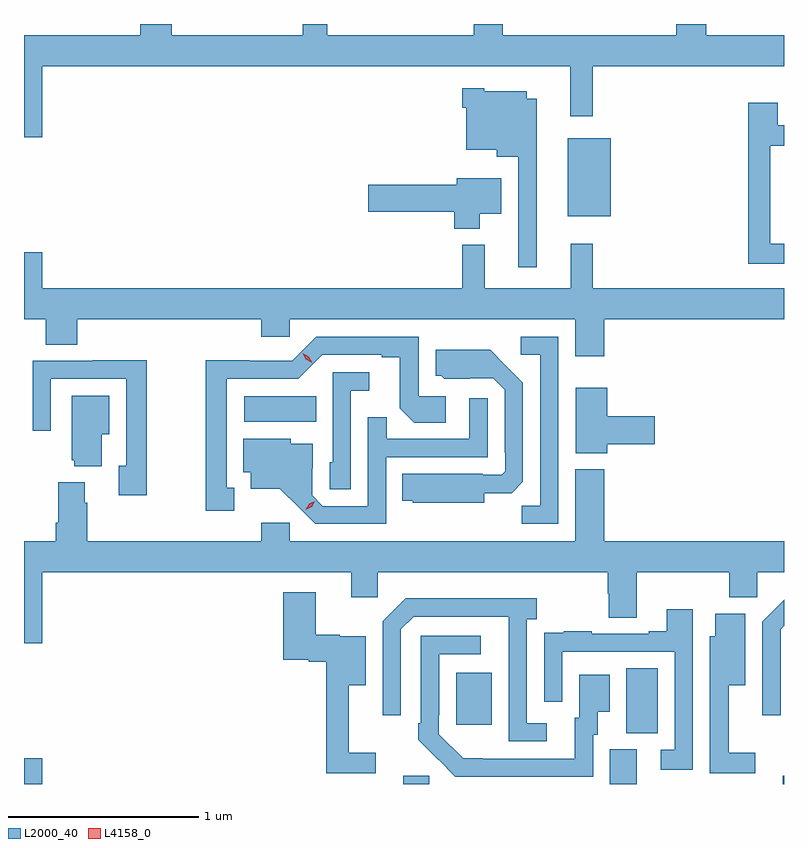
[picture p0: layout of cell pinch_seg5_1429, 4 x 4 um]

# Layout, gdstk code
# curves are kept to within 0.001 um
import gdstk
lib = gdstk.Library(unit=1e-6, precision=1e-09)
def R(c, l, rs):  # rectangles x0, y0, x1, y1
    for r in rs: c.add(gdstk.rectangle(r[:2], r[2:], *l))
def P(c, l, *ps):  # polygons
    for p in ps: c.add(gdstk.Polygon(p, *l))
L2000_40 = (2000, 40)
L4158_0 = (4158, 0)

pinch_seg5_1429 = lib.new_cell('pinch_seg5_1429')
R(pinch_seg5_1429, L2000_40, [(153.089,878.29,153.184,878.425), (155.084,878.29,155.223,878.334), (156.173,878.29,156.313,878.472), (157.082,878.29,157.089,878.334), (156.26,878.557,156.424,878.9), (155.363,878.601,155.551,878.875), (154.248,880.196,154.628,880.33), (155.951,881.279,156.178,881.689)])
P(pinch_seg5_1429, L2000_40, [(153.184,882.068),(155.965,882.068),(155.965,881.805),(156.083,881.805),(156.083,882.068),(157.089,882.068),(157.089,882.232),(156.681,882.232),(156.681,882.29),(156.521,882.29),(156.521,882.232),(155.609,882.232),(155.609,882.29),(155.456,882.29),(155.456,882.232),(154.685,882.232),(154.685,882.29),(154.555,882.29),(154.555,882.232),(153.866,882.232),(153.866,882.29),(153.701,882.29),(153.701,882.232),(153.089,882.232),(153.089,881.694),(153.184,881.694)],
  [(155.788,881.896),(155.734,881.896),(155.734,881.935),(155.511,881.935),(155.511,881.953),(155.396,881.953),(155.396,881.849),(155.417,881.849),(155.417,881.627),(155.576,881.627),(155.576,881.591),(155.691,881.591),(155.691,881.01),(155.788,881.01)],
  [(157.089,881.133),(157.017,881.133),(157.017,881.649),(157.089,881.649),(157.089,881.758),(157.057,881.758),(157.057,881.875),(156.901,881.875),(156.901,881.028),(157.089,881.028)],
  [(155.488,881.291),(155.602,881.291),(155.602,881.479),(155.366,881.479),(155.366,881.444),(154.902,881.444),(154.902,881.302),(155.354,881.302),(155.354,881.213),(155.488,881.213)],
  [(156.143,880.736),(157.089,880.736),(157.089,880.9),(156.083,880.9),(156.083,881.134),(155.966,881.134),(155.966,880.9),(155.513,880.9),(155.513,881.128),(155.395,881.128),(155.395,880.9),(153.184,880.9),(153.184,881.089),(153.089,881.089),(153.089,880.736),(153.203,880.736),(153.203,880.603),(153.368,880.603),(153.368,880.736),(154.337,880.736),(154.337,880.643),(154.488,880.643),(154.488,880.736),(155.99,880.736),(155.99,880.542),(156.143,880.542)],
  [(155.901,880.644),(155.703,880.644),(155.703,880.548),(155.805,880.548),(155.805,879.755),(155.71,879.755),(155.71,879.66),(155.901,879.66)],
  [(154.195,879.849),(154.156,879.849),(154.156,880.422),(154.533,880.422),(154.659,880.548),(154.973,880.548),(154.973,880.536),(155.067,880.536),(155.067,880.268),(155.143,880.192),(155.308,880.192),(155.308,880.332),(155.166,880.332),(155.166,880.644),(154.626,880.644),(154.5,880.518),(154.278,880.518),(154.278,880.52),(154.045,880.52),(154.045,879.729),(154.195,879.729)],
  [(155.512,879.821),(155.656,879.821),(155.715,879.88),(155.715,880.402),(155.543,880.576),(155.255,880.576),(155.255,880.44),(155.286,880.44),(155.302,880.424),(155.559,880.425),(155.619,880.365),(155.619,880.036),(155.622,880.036),(155.622,879.936),(155.604,879.918),(155.504,879.918),(155.504,879.922),(155.08,879.922),(155.08,879.782),(155.136,879.782),(155.136,879.77),(155.512,879.77)],
  [(153.736,880.52),(153.451,880.52),(153.451,880.518),(153.135,880.518),(153.135,880.149),(153.231,880.149),(153.231,880.422),(153.627,880.422),(153.627,879.966),(153.587,879.966),(153.587,879.81),(153.736,879.81)],
  [(154.809,880.361),(154.906,880.361),(154.906,880.458),(154.713,880.458),(154.713,879.984),(154.698,879.984),(154.698,879.841),(154.809,879.841)],
  [(156.16,880.079),(156.409,880.079),(156.409,880.226),(156.16,880.226),(156.16,880.375),(155.993,880.375),(155.993,880.031),(156.16,880.031)],
  [(153.499,880.13),(153.538,880.13),(153.538,880.333),(153.341,880.333),(153.341,879.993),(153.353,879.993),(153.353,879.962),(153.499,879.962)],
  [(154.995,880.011),(155.529,880.011),(155.529,880.321),(155.433,880.321),(155.433,880.107),(154.997,880.107),(154.997,880.22),(154.899,880.22),(154.899,879.753),(154.662,879.753),(154.605,879.81),(154.605,879.952),(154.609,879.952),(154.609,880.081),(154.494,880.081),(154.494,880.108),(154.244,880.108),(154.244,879.932),(154.283,879.932),(154.283,879.845),(154.435,879.845),(154.622,879.66),(154.995,879.66)],
  [(153.184,879.404),(154.811,879.404),(154.811,879.273),(154.95,879.273),(154.95,879.404),(156.161,879.404),(156.161,879.291),(156.166,879.291),(156.166,879.166),(156.313,879.166),(156.313,879.404),(156.802,879.404),(156.802,879.273),(156.948,879.273),(156.948,879.404),(157.089,879.404),(157.089,879.568),(156.143,879.568),(156.143,879.946),(155.99,879.946),(155.99,879.568),(154.488,879.568),(154.488,879.664),(154.337,879.664),(154.337,879.568),(153.422,879.568),(153.422,879.77),(153.409,879.77),(153.409,879.877),(153.269,879.877),(153.269,879.664),(153.257,879.664),(153.257,879.568),(153.089,879.568),(153.089,879.03),(153.184,879.03)],
  [(154.939,878.455),(154.799,878.455),(154.799,878.81),(154.888,878.81),(154.888,879.067),(154.752,879.067),(154.752,879.075),(154.624,879.075),(154.624,879.298),(154.454,879.298),(154.454,878.945),(154.587,878.945),(154.587,878.933),(154.681,878.933),(154.681,878.346),(154.939,878.346)],
  [(155.839,878.61),(155.736,878.61),(155.736,879.158),(155.788,879.158),(155.788,879.268),(155.098,879.268),(154.977,879.147),(154.977,878.652),(155.073,878.652),(155.073,879.105),(155.139,879.171),(155.639,879.171),(155.64,878.514),(155.839,878.514)],
  [(157.071,879.105),(157.089,879.123),(157.089,879.259),(156.975,879.145),(156.975,878.652),(157.071,878.652)],
  [(156.609,879.211),(156.473,879.211),(156.473,879.094),(156.377,879.094),(156.377,879.081),(156.077,879.081),(156.077,879.094),(155.929,879.094),(155.929,879.087),(155.827,879.087),(155.827,878.978),(155.826,878.978),(155.826,878.724),(155.922,878.724),(155.922,878.985),(156.513,878.985),(156.513,878.469),(156.441,878.469),(156.441,878.364),(156.609,878.364)],
  [(156.937,878.455),(156.797,878.455),(156.797,878.81),(156.886,878.81),(156.886,879.187),(156.728,879.187),(156.728,879.067),(156.699,879.067),(156.699,878.346),(156.937,878.346)],
  [(156.084,878.55),(156.109,878.55),(156.109,878.669),(156.172,878.669),(156.172,878.866),(156.011,878.866),(156.011,878.64),(155.987,878.64),(155.987,878.424),(155.4,878.425),(155.271,878.553),(155.271,878.653),(155.274,878.653),(155.274,878.973),(155.494,878.973),(155.494,879.069),(155.178,879.069),(155.178,878.611),(155.163,878.611),(155.163,878.523),(155.36,878.328),(156.084,878.328)])
P(pinch_seg5_1429, L4158_0, [(154.605,880.508),(154.573,880.526),(154.555,880.558),(154.555,880.558),(154.555,880.558),(154.587,880.54),(154.605,880.508),(154.605,880.508)],
  [(154.571,879.734),(154.571,879.734),(154.589,879.764),(154.62,879.778),(154.62,879.778),(154.62,879.778),(154.603,879.749),(154.572,879.734)])

lib.write_gds('pinch_seg5_1429.gds')
